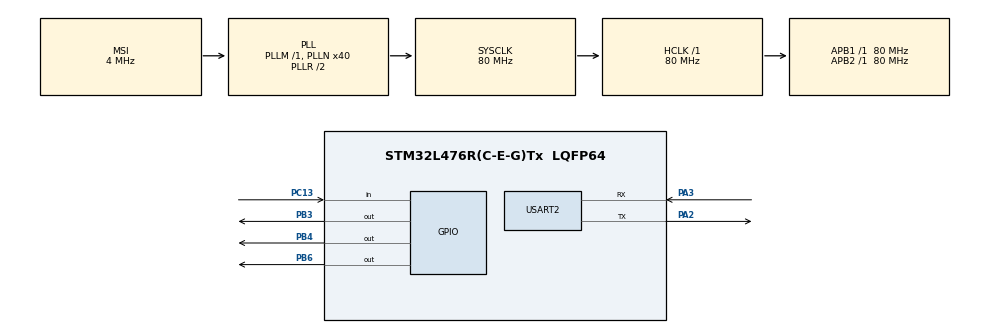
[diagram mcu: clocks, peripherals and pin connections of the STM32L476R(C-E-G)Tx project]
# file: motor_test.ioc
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FREERTOS.INCLUDE_vTaskDelayUntil=1
FREERTOS.Tasks01=defaultTask,0,128,StartDefaultTask,Default,NULL,Dynamic,NULL,NULL
Mcu.Family=STM32L4
Mcu.Name=STM32L476R(C-E-G)Tx
Mcu.Package=LQFP64
NVIC.PriorityGroup=NVIC_PRIORITYGROUP_4
NVIC.TIM1_UP_TIM16_IRQn=true\:0\:0\:false\:false\:true\:false\:false\:true
NVIC.TimeBase=TIM1_UP_TIM16_IRQn
NVIC.TimeBaseIP=TIM1
NVIC.USART2_IRQn=true\:5\:0\:false\:false\:true\:true\:true\:true
PA2.Mode=Asynchronous
PA2.Signal=USART2_TX
PA3.Mode=Asynchronous
PA3.Signal=USART2_RX
PB3\ (JTDO-TRACESWO).GPIO_ModeDefaultOutputPP=GPIO_MODE_OUTPUT_OD
PB3\ (JTDO-TRACESWO).Signal=GPIO_Output
PB4\ (NJTRST).Signal=GPIO_Output
PB6.Signal=GPIO_Output
PC13.Signal=GPIO_Input
ProjectManager.HeapSize=0x200
ProjectManager.StackSize=0x400
ProjectManager.TargetToolchain=TrueSTUDIO
RCC.AHBFreq_Value=80000000
RCC.APB1Freq_Value=80000000
RCC.APB1TimFreq_Value=80000000
RCC.APB2Freq_Value=80000000
RCC.APB2TimFreq_Value=80000000
RCC.CortexFreq_Value=80000000
RCC.HCLKFreq_Value=80000000
RCC.HSE_VALUE=8000000
RCC.HSI_VALUE=16000000
RCC.LSE_VALUE=32768
RCC.MSI_VALUE=4000000
RCC.PLLN=40
RCC.SYSCLKFreq_VALUE=80000000
RCC.SYSCLKSource=RCC_SYSCLKSOURCE_PLLCLK
RCC.VCOOutputFreq_Value=160000000
USART2.VirtualMode-Asynchronous=VM_ASYNC
VP_FREERTOS_VS_CMSIS_V1.Mode=CMSIS_V1
VP_SYS_VS_tim1.Mode=TIM1
board=custom

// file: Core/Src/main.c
/* USER CODE BEGIN Header */
/**
  ******************************************************************************
  * @file           : main.c
  * @brief          : Main program body
  ******************************************************************************
  * @attention
  *
  * <h2><center>&copy; Copyright (c) 2021 STMicroelectronics.
  * All rights reserved.</center></h2>
  *
  * This software component is licensed by ST under Ultimate Liberty license
  * SLA0044, the "License"; You may not use this file except in compliance with
  * the License. You may obtain a copy of the License at:
  *                             www.st.com/SLA0044
  *
  ******************************************************************************
  */
/* USER CODE END Header */
#include "main.h"
//#include "cmsis_os.h"

/* USER CODE BEGIN Includes */
#include "FreeRTOS.h"
#include "task.h"
//#include "timers.h"
#include "queue.h"
#include "semphr.h"
//#include "event_groups.h"

#include "string.h"
/* Private includes ----------------------------------------------------------*/
/* USER CODE BEGIN Includes */

/* USER CODE END Includes */

UART_HandleTypeDef huart2;

//osThreadId defaultTaskHandle;

void SystemClock_Config(void);
static void MX_GPIO_Init(void);
static void MX_USART2_UART_Init(void);
//void StartDefaultTask(void const * argument);

/* USER CODE BEGIN 0 */
SemaphoreHandle_t SimpleMutex;

TaskHandle_t HPT_Handler;
/*TaskHandle_t MPT_Handler;
TaskHandle_t LPT_Handler;*/

void HPT_Task (void *argument);
/*void MPT_Task (void *argument);
void LPT_Task (void *argument);*/

uint8_t rx_data=0;

/*void Send_Uart (uint8_t *str)
{
	xSemaphoreTake(SimpleMutex, portMAX_DELAY);
	HAL_Delay(5000);
	HAL_UART_Transmit(&huart2, str, strlen (str), HAL_MAX_DELAY);
	xSemaphoreGive(SimpleMutex);
}
*/
/* USER CODE END 0 */

int main(void)
{

  /* MCU Configuration--------------------------------------------------------*/

  /* Reset of all peripherals, Initializes the Flash interface and the Systick. */
  HAL_Init();

  /* Configure the system clock */
  SystemClock_Config();

  /* Initialize all configured peripherals */
  MX_GPIO_Init();
  MX_USART2_UART_Init();
  /* USER CODE BEGIN 2 */
  HAL_GPIO_WritePin(GPIOB ,GPIO_PIN_4 ,GPIO_PIN_SET);

  HAL_UART_Receive_IT(&huart2, &rx_data, 1);

  SimpleMutex=xSemaphoreCreateMutex();

  if(SimpleMutex!=NULL)
  {
  	  HAL_UART_Transmit(&huart2,(uint8_t *)"Mutex created\r\n\n",15,1000);
  }

  xTaskCreate(HPT_Task,"HPT",128,NULL,3,&HPT_Handler);
  /*xTaskCreate(MPT_Task,"MPT",128,NULL,2,&MPT_Handler);
  xTaskCreate(LPT_Task,"LPT",128,NULL,1,&LPT_Handler);
*/
  vTaskStartScheduler();
  /* USER CODE END 2 */

  /* We should never get here as control is now taken by the scheduler */
  /* Infinite loop */
  while (1)
  {

  }
}

void SystemClock_Config(void)
{
  RCC_OscInitTypeDef RCC_OscInitStruct = {0};
  RCC_ClkInitTypeDef RCC_ClkInitStruct = {0};
  RCC_PeriphCLKInitTypeDef PeriphClkInit = {0};

  /** Initializes the RCC Oscillators according to the specified parameters
  * in the RCC_OscInitTypeDef structure.
  */
  RCC_OscInitStruct.OscillatorType = RCC_OSCILLATORTYPE_MSI;
  RCC_OscInitStruct.MSIState = RCC_MSI_ON;
  RCC_OscInitStruct.MSICalibrationValue = 0;
  RCC_OscInitStruct.MSIClockRange = RCC_MSIRANGE_6;
  RCC_OscInitStruct.PLL.PLLState = RCC_PLL_ON;
  RCC_OscInitStruct.PLL.PLLSource = RCC_PLLSOURCE_MSI;
  RCC_OscInitStruct.PLL.PLLM = 1;
  RCC_OscInitStruct.PLL.PLLN = 40;
  RCC_OscInitStruct.PLL.PLLP = RCC_PLLP_DIV7;
  RCC_OscInitStruct.PLL.PLLQ = RCC_PLLQ_DIV2;
  RCC_OscInitStruct.PLL.PLLR = RCC_PLLR_DIV2;
  if (HAL_RCC_OscConfig(&RCC_OscInitStruct) != HAL_OK)
  {
    Error_Handler();
  }
  /** Initializes the CPU, AHB and APB buses clocks
  */
  RCC_ClkInitStruct.ClockType = RCC_CLOCKTYPE_HCLK|RCC_CLOCKTYPE_SYSCLK
                              |RCC_CLOCKTYPE_PCLK1|RCC_CLOCKTYPE_PCLK2;
  RCC_ClkInitStruct.SYSCLKSource = RCC_SYSCLKSOURCE_PLLCLK;
  RCC_ClkInitStruct.AHBCLKDivider = RCC_SYSCLK_DIV1;
  RCC_ClkInitStruct.APB1CLKDivider = RCC_HCLK_DIV1;
  RCC_ClkInitStruct.APB2CLKDivider = RCC_HCLK_DIV1;

  if (HAL_RCC_ClockConfig(&RCC_ClkInitStruct, FLASH_LATENCY_4) != HAL_OK)
  {
    Error_Handler();
  }
  PeriphClkInit.PeriphClockSelection = RCC_PERIPHCLK_USART2;
  PeriphClkInit.Usart2ClockSelection = RCC_USART2CLKSOURCE_PCLK1;
  if (HAL_RCCEx_PeriphCLKConfig(&PeriphClkInit) != HAL_OK)
  {
    Error_Handler();
  }
  /** Configure the main internal regulator output voltage
  */
  if (HAL_PWREx_ControlVoltageScaling(PWR_REGULATOR_VOLTAGE_SCALE1) != HAL_OK)
  {
    Error_Handler();
  }
}

static void MX_USART2_UART_Init(void)
{

  huart2.Instance = USART2;
  huart2.Init.BaudRate = 115200;
  huart2.Init.WordLength = UART_WORDLENGTH_8B;
  huart2.Init.StopBits = UART_STOPBITS_1;
  huart2.Init.Parity = UART_PARITY_NONE;
  huart2.Init.Mode = UART_MODE_TX_RX;
  huart2.Init.HwFlowCtl = UART_HWCONTROL_NONE;
  huart2.Init.OverSampling = UART_OVERSAMPLING_16;
  huart2.Init.OneBitSampling = UART_ONE_BIT_SAMPLE_DISABLE;
  huart2.AdvancedInit.AdvFeatureInit = UART_ADVFEATURE_NO_INIT;
  if (HAL_UART_Init(&huart2) != HAL_OK)
  {
    Error_Handler();
  }

}

static void MX_GPIO_Init(void)
{
  GPIO_InitTypeDef GPIO_InitStruct = {0};

  /* GPIO Ports Clock Enable */
  __HAL_RCC_GPIOC_CLK_ENABLE();
  __HAL_RCC_GPIOA_CLK_ENABLE();
  __HAL_RCC_GPIOB_CLK_ENABLE();

  /*Configure GPIO pin Output Level */
  HAL_GPIO_WritePin(GPIOB, GPIO_PIN_3|GPIO_PIN_4|GPIO_PIN_6, GPIO_PIN_RESET);

  /*Configure GPIO pin : PC13 */
  GPIO_InitStruct.Pin = GPIO_PIN_13;
  GPIO_InitStruct.Mode = GPIO_MODE_INPUT;
  GPIO_InitStruct.Pull = GPIO_NOPULL;
  HAL_GPIO_Init(GPIOC, &GPIO_InitStruct);

  /*Configure GPIO pin : PB3 */
  GPIO_InitStruct.Pin = GPIO_PIN_3;
  GPIO_InitStruct.Mode = GPIO_MODE_OUTPUT_OD;
  GPIO_InitStruct.Pull = GPIO_NOPULL;
  GPIO_InitStruct.Speed = GPIO_SPEED_FREQ_LOW;
  HAL_GPIO_Init(GPIOB, &GPIO_InitStruct);

  /*Configure GPIO pins : PB4 PB6 */
  GPIO_InitStruct.Pin = GPIO_PIN_4|GPIO_PIN_6;
  GPIO_InitStruct.Mode = GPIO_MODE_OUTPUT_PP;
  GPIO_InitStruct.Pull = GPIO_NOPULL;
  GPIO_InitStruct.Speed = GPIO_SPEED_FREQ_LOW;
  HAL_GPIO_Init(GPIOB, &GPIO_InitStruct);

}

/* USER CODE BEGIN 4 */
void HPT_Task (void *argument)
{
	//uint8_t *strtosend = "IN HPT===========================\r\n";
	while (1)
	{

		if (!HAL_GPIO_ReadPin(GPIOC,GPIO_PIN_13))
		{
			HAL_GPIO_WritePin(GPIOB,GPIO_PIN_4,GPIO_PIN_SET);
			for (int i=0;i<500;i++)
			{
				HAL_GPIO_WritePin(GPIOB,GPIO_PIN_3,GPIO_PIN_SET);
				HAL_Delay(1);
				HAL_GPIO_WritePin(GPIOB,GPIO_PIN_3,GPIO_PIN_RESET);
				HAL_Delay(1);
			}
			HAL_Delay(2000);

			HAL_GPIO_WritePin(GPIOB,GPIO_PIN_4,GPIO_PIN_RESET);

			for (int i=0;i<500;i++)
						{
							HAL_GPIO_WritePin(GPIOB,GPIO_PIN_3,GPIO_PIN_SET);
							HAL_Delay(1);
							HAL_GPIO_WritePin(GPIOB,GPIO_PIN_3,GPIO_PIN_RESET);
							HAL_Delay(1);
						}

		}
		//xSemaphoreGive(SimpleMutex);(let 'r' to give semaphore)

		vTaskDelay(750);
	}
}

/*void MPT_Task(void *argument)
{
	while(1)
	{
		char *str = "IN MPT******************************\r\n";
		HAL_UART_Transmit(&huart2, (uint8_t *)str, strlen (str), HAL_MAX_DELAY);
		vTaskDelay(2000);
	}
}*/

/*void LPT_Task (void *argument)
{
	//uint8_t *strtosend = "IN LPT===================================\r\n";
	while (1)
	{
		char *str = "Entered LPT and About to take Mutex\r\n";
		HAL_UART_Transmit(&huart2, (uint8_t *)str, strlen (str), HAL_MAX_DELAY);

		//Send_Uart(strtosend);

		char *str2 = "Leaving LPT\r\n\n";
		HAL_UART_Transmit(&huart2, (uint8_t *)str2, strlen (str2), HAL_MAX_DELAY);

		vTaskDelay(1000);
	}
}*/

//void HAL_UART_RxCpltCallback(UART_HandleTypeDef *huart)
//{
//	HAL_UART_Receive_IT(huart, &rx_data, 1);
//	if (rx_data == 'r')
//	{
//		// release the semaphore here
//		 /* The xHigherPriorityTaskWoken parameter must be initialized to pdFALSE as
//		 it will get set to pdTRUE inside the interrupt safe API function if a
//		 context switch is required. */
//		BaseType_t xHigherPriorityTaskWoken = pdFALSE;
//
//		xSemaphoreGiveFromISR(SimpleMutex, &xHigherPriorityTaskWoken);  // ISR SAFE VERSION
//		//xSemaphoreGiveFromISR(CountingSem, &xHigherPriorityTaskWoken);  // ISR SAFE VERSION
//		//xSemaphoreGiveFromISR(CountingSem, &xHigherPriorityTaskWoken);  // ISR SAFE VERSION
//
//		/* Pass the xHigherPriorityTaskWoken value into portEND_SWITCHING_ISR(). If
//		 xHigherPriorityTaskWoken was set to pdTRUE inside xSemaphoreGiveFromISR()
//		 then calling portEND_SWITCHING_ISR() will request a context switch. If
//		 xHigherPriorityTaskWoken is still pdFALSE then calling
//		 portEND_SWITCHING_ISR() will have no effect */
//
//		portEND_SWITCHING_ISR( xHigherPriorityTaskWoken );
//	}
//}
/* USER CODE END 4 */

 /**
  * @brief  Period elapsed callback in non blocking mode
  * @note   This function is called  when TIM1 interrupt took place, inside
  * HAL_TIM_IRQHandler(). It makes a direct call to HAL_IncTick() to increment
  * a global variable "uwTick" used as application time base.
  * @param  htim : TIM handle
  * @retval None
  */
void HAL_TIM_PeriodElapsedCallback(TIM_HandleTypeDef *htim)
{
  if (htim->Instance == TIM1) {
    HAL_IncTick();
  }
}

void Error_Handler(void)
{
  __disable_irq();
  while (1)
  {
  }
}

/************************ (C) COPYRIGHT STMicroelectronics *****END OF FILE****/
